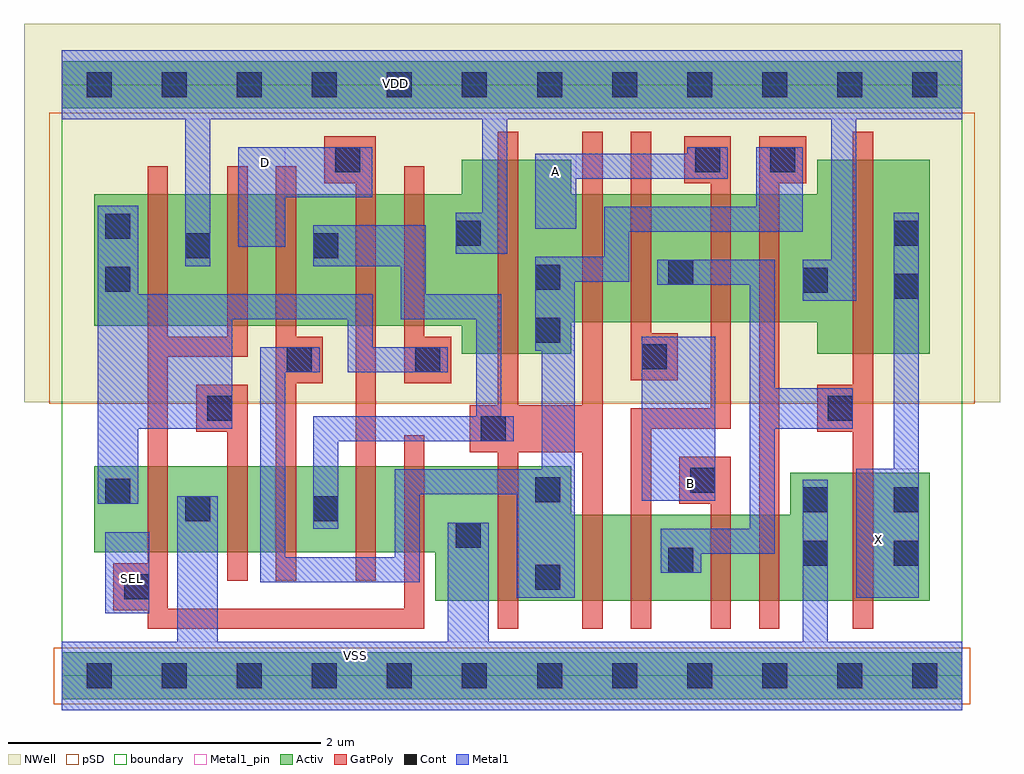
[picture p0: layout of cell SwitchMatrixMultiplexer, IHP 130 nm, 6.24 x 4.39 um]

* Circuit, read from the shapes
.subckt SwitchMatrixMultiplexer A B D SEL VDD VSS X
XM1 VSS SEL n1 VSS sg13_lv_nmos w=0.55u l=0.13u
XM2 n2 n1 VSS VSS sg13_lv_nmos w=0.55u l=0.13u
XM3 n3 n4 n2 VSS sg13_lv_nmos w=0.55u l=0.13u
XM4 n5 D n3 VSS sg13_lv_nmos w=0.55u l=0.13u
XM5 VSS SEL n5 VSS sg13_lv_nmos w=0.55u l=0.13u
XM6 n4 n3 VSS VSS sg13_lv_nmos w=0.86u l=0.13u
XM7 n6 n3 n4 VSS sg13_lv_nmos w=0.55u l=0.13u
XM8 n7 A n6 VSS sg13_lv_nmos w=0.55u l=0.13u
XM9 n8 B n7 VSS sg13_lv_nmos w=0.55u l=0.13u
XM10 VSS n4 n8 VSS sg13_lv_nmos w=0.55u l=0.13u
XM11 X n7 VSS VSS sg13_lv_nmos w=0.82u l=0.13u
XM12 VDD SEL n1 VDD sg13_lv_pmos w=0.84u l=0.13u
XM13 n9 SEL VDD VDD sg13_lv_pmos w=0.84u l=0.13u
XM14 n3 n4 n9 VDD sg13_lv_pmos w=0.84u l=0.13u
XM15 n10 D n3 VDD sg13_lv_pmos w=0.84u l=0.13u
XM16 VDD n1 n10 VDD sg13_lv_pmos w=0.84u l=0.13u
XM17 n4 n3 VDD VDD sg13_lv_pmos w=1.24u l=0.13u
XM18 n11 n3 n4 VDD sg13_lv_pmos w=0.82u l=0.13u
XM19 n7 B n11 VDD sg13_lv_pmos w=0.82u l=0.13u
XM20 n12 A n7 VDD sg13_lv_pmos w=0.82u l=0.13u
XM21 VDD n4 n12 VDD sg13_lv_pmos w=0.82u l=0.13u
XM22 X n7 VDD VDD sg13_lv_pmos w=1.24u l=0.13u
.ends

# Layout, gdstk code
import gdstk
lib = gdstk.Library(unit=1e-6, precision=1e-09)
def R(c, l, rs):  # rectangles x0, y0, x1, y1
    for r in rs: c.add(gdstk.rectangle(r[:2], r[2:], *l))
def A(c, l, x, y, w, h, nx, ny, dx, dy):  # array of equal rectangles
    R(c, l, [(x+i*dx, y+j*dy, x+i*dx+w, y+j*dy+h) for i in range(nx) for j in range(ny)])
def P(c, l, *ps):  # polygons
    for p in ps: c.add(gdstk.Polygon(p, *l))
Activ = (1, 0)
GatPoly = (5, 0)
Cont = (6, 0)
Metal1 = (8, 0)
Metal1_pin = (8, 2)
pSD = (14, 0)
NWell = (31, 0)
boundary = (189, 4)

switchmatrixmultiplexer = lib.new_cell('SwitchMatrixMultiplexer')
R(switchmatrixmultiplexer, Activ, [(0,-0.15,5.76,0.15), (0,3.63,5.76,3.93)])
P(switchmatrixmultiplexer, Activ, [(2.39,0.48),(2.39,0.79),(0.21,0.79),(0.21,1.34),(3.26,1.34),(3.26,1.03),(4.66,1.03),(4.66,1.3),(5.55,1.3),(5.55,0.48)],
  [(2.56,2.06),(2.56,2.24),(0.21,2.24),(0.21,3.08),(2.56,3.08),(2.56,3.3),(3.26,3.3),(3.26,3.08),(4.83,3.08),(4.83,3.3),(5.55,3.3),(5.55,2.06),(4.83,2.06),(4.83,2.26),(3.26,2.26),(3.26,2.06)])
P(switchmatrixmultiplexer, GatPoly, [(4.15,0.3),(4.15,1.1),(3.95,1.1),(3.95,1.4),(4.28,1.4),(4.28,0.3)],
  [(1.06,0.61),(1.06,1.56),(0.86,1.56),(0.86,1.86),(1.19,1.86),(1.19,0.61)],
  [(0.55,0.3),(0.55,0.42),(0.33,0.42),(0.33,0.72),(0.55,0.72),(0.55,3.26),(0.68,3.26),(0.68,2.17),(1.06,2.17),(1.06,3.26),(1.19,3.26),(1.19,2.04),(0.68,2.04),(0.68,0.43),(2.19,0.43),(2.19,1.54),(2.32,1.54),(2.32,0.3)],
  [(1.37,0.61),(1.37,3.26),(1.5,3.26),(1.5,2.17),(1.67,2.17),(1.67,1.87),(1.5,1.87),(1.5,0.61)],
  [(2.19,1.87),(2.19,3.26),(2.32,3.26),(2.32,2.17),(2.49,2.17),(2.49,1.87)],
  [(1.88,0.61),(1.88,3.15),(1.68,3.15),(1.68,3.45),(2.01,3.45),(2.01,0.61)],
  [(3.64,0.3),(3.64,1.71),(4.15,1.71),(4.15,3.15),(3.98,3.15),(3.98,3.45),(4.28,3.45),(4.28,1.58),(3.77,1.58),(3.77,0.3)],
  [(4.46,0.3),(4.46,3.45),(4.76,3.45),(4.76,3.15),(4.59,3.15),(4.59,0.3)],
  [(2.79,0.3),(2.79,1.43),(2.61,1.43),(2.61,1.73),(2.79,1.73),(2.79,3.48),(2.92,3.48),(2.92,1.73),(3.33,1.73),(3.33,3.48),(3.46,3.48),(3.46,0.3),(3.33,0.3),(3.33,1.43),(2.92,1.43),(2.92,0.3)],
  [(3.64,1.89),(3.64,3.48),(3.77,3.48),(3.77,2.19),(3.94,2.19),(3.94,1.89)],
  [(5.06,0.3),(5.06,1.56),(4.83,1.56),(4.83,1.86),(5.06,1.86),(5.06,3.48),(5.19,3.48),(5.19,0.3)])
A(switchmatrixmultiplexer, Cont, 0.16, -0.08, 0.16, 0.16, 11, 1, 0.48, 0)
A(switchmatrixmultiplexer, Cont, 0.16, 3.7, 0.16, 0.16, 6, 1, 0.48, 0)
A(switchmatrixmultiplexer, Cont, 3.04, 3.7, 0.16, 0.16, 5, 1, 0.48, 0)
R(switchmatrixmultiplexer, Cont, [(4.96,-0.08,5.12,0.08), (5.44,-0.08,5.6,0.08), (0.4,0.49,0.56,0.65), (3.03,0.55,3.19,0.71), (3.88,0.66,4.04,0.82), (4.74,0.705,4.9,0.865), (5.32,0.705,5.48,0.865), (2.52,0.82,2.68,0.98), (0.79,0.99,0.95,1.15), (1.61,0.99,1.77,1.15), (4.74,1.045,4.9,1.205), (5.32,1.045,5.48,1.205), (0.28,1.1,0.44,1.26), (3.03,1.11,3.19,1.27), (4.02,1.17,4.18,1.33), (2.68,1.5,2.84,1.66), (0.93,1.63,1.09,1.79), (4.9,1.63,5.06,1.79), (1.44,1.94,1.6,2.1), (2.26,1.94,2.42,2.1), (3.71,1.96,3.87,2.12), (3.03,2.13,3.19,2.29), (5.32,2.41,5.48,2.57), (4.74,2.45,4.9,2.61), (0.28,2.455,0.44,2.615), (3.03,2.47,3.19,2.63), (3.88,2.5,4.04,2.66), (0.79,2.67,0.95,2.83), (1.61,2.67,1.77,2.83), (2.52,2.75,2.68,2.91), (5.32,2.75,5.48,2.91), (0.28,2.795,0.44,2.955), (1.75,3.22,1.91,3.38), (4.05,3.22,4.21,3.38), (4.53,3.22,4.69,3.38), (2.56,3.7,2.72,3.86), (3.04,3.7,3.2,3.86), (4.96,3.7,5.12,3.86), (5.44,3.7,5.6,3.86)])
R(switchmatrixmultiplexer, Metal1, [(0.28,0.4,0.56,0.92), (3.71,1.12,4.18,2.17)])
P(switchmatrixmultiplexer, Metal1, [(1.61,0.94),(1.61,1.66),(1.77,1.66),(2.65,1.66),(2.65,2.28),(2.17,2.28),(2.17,2.62),(1.61,2.62),(1.61,2.88),(2.33,2.88),(2.33,2.44),(2.81,2.44),(2.81,1.66),(2.89,1.66),(2.89,1.5),(1.77,1.5),(1.77,0.94)],
  [(0,-0.22),(0,0.22),(0.74,0.22),(0.74,1.15),(1,1.15),(1,0.22),(2.47,0.22),(2.47,0.98),(2.73,0.98),(2.73,0.22),(4.74,0.22),(4.74,1.255),(4.9,1.255),(4.9,0.22),(5.76,0.22),(5.76,-0.22)],
  [(3.83,0.66),(3.83,0.94),(4.4,0.94),(4.4,2.5),(3.81,2.5),(3.81,2.66),(4.56,2.66),(4.56,1.84),(5.06,1.84),(5.06,1.58),(4.56,1.58),(4.56,0.78),(4.09,0.78),(4.09,0.66)],
  [(5.08,0.5),(5.08,1.325),(5.32,1.325),(5.32,2.96),(5.48,2.96),(5.48,0.5)],
  [(0.23,1.1),(0.23,3.005),(0.49,3.005),(0.49,2.44),(1.99,2.44),(1.99,2.1),(2.47,2.1),(2.47,1.94),(1.83,1.94),(1.83,2.28),(1.09,2.28),(1.09,1.58),(0.49,1.58),(0.49,1.1)],
  [(1.13,2.745),(1.13,3.38),(1.985,3.38),(1.985,3.06),(1.43,3.06),(1.43,2.745)],
  [(3.03,2.86),(3.03,3.34),(4,3.34),(4,3.38),(4.26,3.38),(4.26,3.18),(3.29,3.18),(3.29,2.86)],
  [(2.91,0.5),(2.91,1.16),(2.29,1.16),(2.29,0.6),(1.27,0.6),(1.27,2.1),(1.65,2.1),(1.65,1.94),(1.43,1.94),(1.43,0.76),(2.13,0.76),(2.13,1.32),(3.07,1.32),(3.07,2.08),(3.03,2.08),(3.03,2.68),(3.47,2.68),(3.47,3),(4.44,3),(4.44,3.38),(4.74,3.38),(4.74,2.84),(3.63,2.84),(3.63,2.52),(3.28,2.52),(3.28,0.5)],
  [(4.74,2.4),(4.74,2.66),(4.92,2.66),(4.92,3.56),(2.85,3.56),(2.85,2.7),(2.52,2.7),(2.52,2.96),(2.69,2.96),(2.69,3.56),(0.95,3.56),(0.95,2.62),(0.79,2.62),(0.79,3.56),(0,3.56),(0,4),(5.76,4),(5.76,3.56),(5.08,3.56),(5.08,2.4)])
R(switchmatrixmultiplexer, Metal1_pin, [(0,-0.22,5.76,0.22), (0.28,0.4,0.56,0.92), (5.08,0.5,5.48,1.325), (3.71,1.12,4.18,2.17), (1.13,2.745,1.43,3.38), (3.03,2.86,3.29,3.34), (0,3.56,5.76,4)])
R(switchmatrixmultiplexer, pSD, [(-0.05,-0.18,5.81,0.18), (-0.08,1.74,5.84,3.6)])
R(switchmatrixmultiplexer, NWell, [(-0.24,1.75,6,4.17)])
R(switchmatrixmultiplexer, boundary, [(0,0,5.76,3.78)])
switchmatrixmultiplexer.add(gdstk.Label('D', (1.305,3.285), layer=8, texttype=25))
switchmatrixmultiplexer.add(gdstk.Label('VSS', (1.88,0.13), layer=8, texttype=25))
switchmatrixmultiplexer.add(gdstk.Label('VDD', (2.135,3.79), layer=8, texttype=25))
switchmatrixmultiplexer.add(gdstk.Label('A', (3.16,3.225), layer=8, texttype=25))
switchmatrixmultiplexer.add(gdstk.Label('B', (4.02,1.23), layer=8, texttype=25))
switchmatrixmultiplexer.add(gdstk.Label('X', (5.225,0.875), layer=8, texttype=25))
switchmatrixmultiplexer.add(gdstk.Label('SEL', (0.455,0.62), layer=8, texttype=25))

lib.write_gds('SwitchMatrixMultiplexer.gds')
